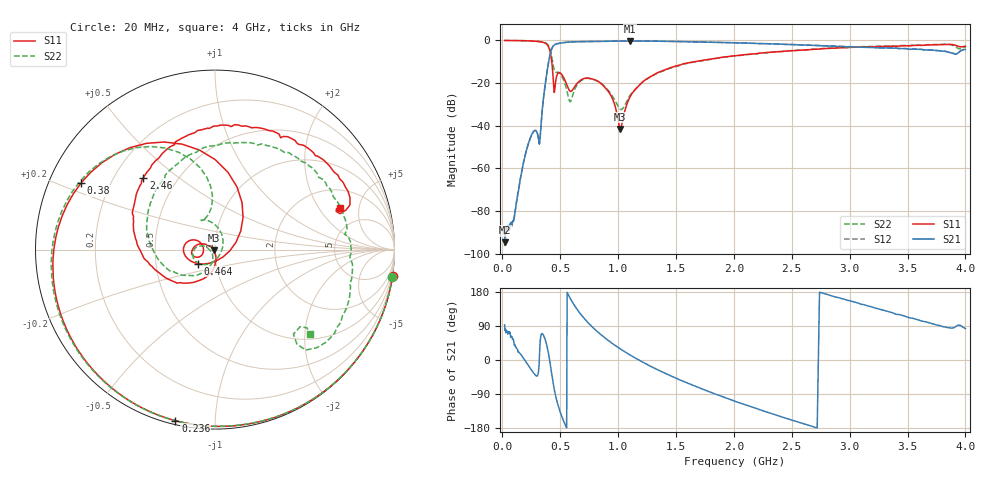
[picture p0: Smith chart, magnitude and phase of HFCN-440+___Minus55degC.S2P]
! Mini-Circuits
! S2P DATA File Format
! Unit Family Type: Filters
! MCL Part No: HFCN-440+
! Note: All S Parameters are in dB deg format
! The Unit was tested at -55 °C
# MHz S DB R 50
!  FREQ  dB(S11)  PHS(S11)  dB(S21)  PHS(S21)  dB(S12)  PHS(S12)  dB(S22)  PHS(S22)
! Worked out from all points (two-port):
!   401 points, 20 MHz to 4 GHz, reference 50 ohm
!   highest |S21| = -0.26 dB at 1.1 GHz (marker M1); lowest = -94.6 dB at 20 MHz (marker M2)
!   |S21| within 3 dB of the highest: 432.2 MHz to 3.172 GHz (2.74 GHz wide, 152 % of centre)
!   lowest |S11| = -41.5 dB at 1.019 GHz (marker M3), VSWR 1.02, Z = 49.2 - j0.346 ohm
!   |S11| at or under -10 dB: 427.1 MHz to 1.657 GHz (1.229 GHz wide, 118 % of centre)
!   |S22| runs from -32.5 to 0.0 dB; largest |S21 - S12| = 0.013
!   S11 on the Smith chart (normalised r, x): 20 MHz: -0, -13; 236 MHz: 0.02, -0.80; 380 MHz: 0.10, +0.23; 464 MHz: 0.82, -0.13; 2.46 GHz: 0.32, +0.38; 4 GHz: 3.13, +3.16
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20  0.00 -8.6  -94.63 92.8  -96.54 69.4  0.00 -8.7
108  -0.02 -45.7  -81.01 40.7  -81.21 41.0  -0.02 -45.9
236  -0.19 -103.0  -46.65 -19.2  -46.65 -19.0  -0.20 -104.4
320  -0.55 -151.9  -48.62 2.9  -48.59 3.0  -0.52 -152.7
380  -1.59 153.5  -17.08 43.9  -17.06 43.9  -1.33 157.9
404  -3.56 115.4  -8.98 8.9  -8.96 8.8  -2.89 127.6
424  -8.63 70.6  -4.36 -30.6  -4.36 -30.6  -6.65 100.4
448  -24.40 -44.0  -2.15 -75.8  -2.14 -75.8  -13.75 99.2
464  -18.17 -140.7  -1.70 -98.9  -1.69 -98.9  -15.02 113.8
552  -20.11 153.2  -0.86 -176.6  -0.85 -176.6  -22.29 56.2
588  -23.87 177.8  -0.70 161.9  -0.70 161.9  -28.75 -29.7
684  -18.41 -160.4  -0.55 118.3  -0.55 118.3  -18.73 -137.0
900  -22.87 153.7  -0.34 55.1  -0.34 55.1  -22.50 164.1
1019  -41.55 -155.2  -0.28 29.3  -0.27 29.3  -32.31 -154.4
1100  -26.76 -82.7  -0.26 13.9  -0.26 13.9  -26.07 -104.2
1360  -14.69 -114.5  -0.35 -28.4  -0.35 -28.3  -14.87 -127.0
1680  -9.80 -152.8  -0.67 -70.8  -0.67 -70.7  -9.88 -170.1
2020  -7.15 174.0  -1.12 -109.9  -1.11 -109.8  -7.22 146.7
2460  -4.94 134.9  -1.87 -154.7  -1.82 -154.4  -4.88 96.7
2680  -4.19 116.5  -2.29 -175.6  -2.24 -175.4  -4.14 73.6
3340  -2.69 64.2  -3.56 127.6  -3.47 127.2  -2.56 12.9
4000  -2.70 18.6  -4.23 82.7  -4.14 81.7  -2.99 -41.4
